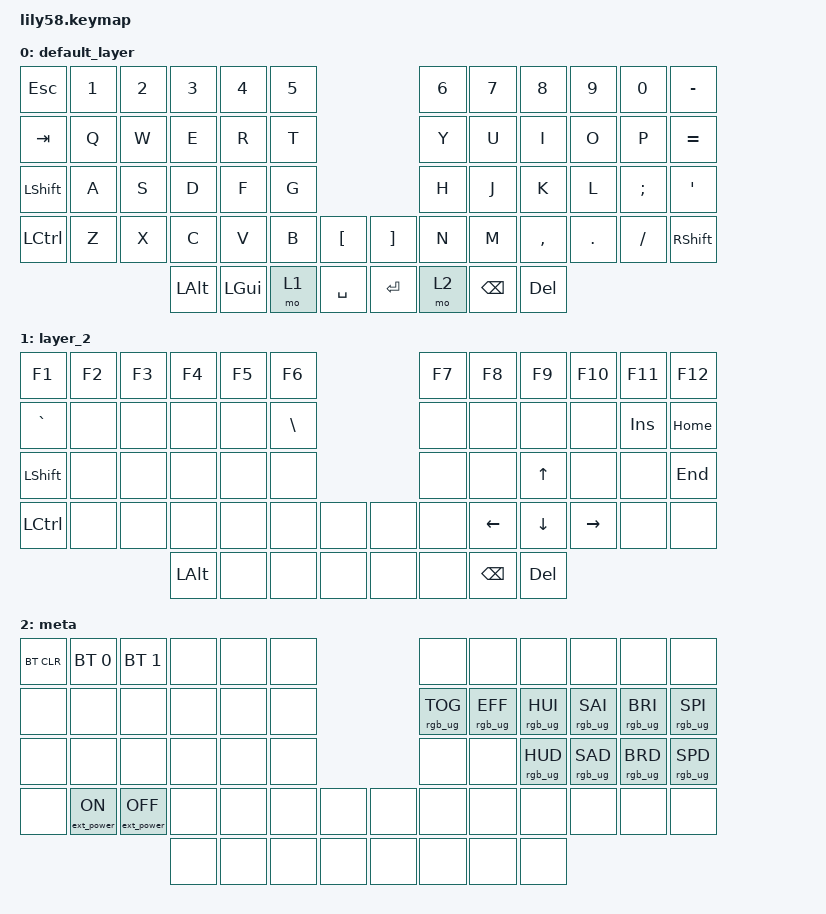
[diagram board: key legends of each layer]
/*
 * Copyright (c) 2020 The ZMK Contributors
 *
 * SPDX-License-Identifier: MIT
 */

#include <behaviors.dtsi>
#include <dt-bindings/zmk/bt.h>
#include <dt-bindings/zmk/ext_power.h>
#include <dt-bindings/zmk/keys.h>
#include <dt-bindings/zmk/rgb.h>

/ {
    combos {
        compatible = "zmk,combos";

        to_layer_meta {
            bindings = <&tog 2>;
            key-positions = <36 42 43 50>;
        };
    };

    behaviors {
        ss_hs_modmorph: ss_hs_modmorph {
            compatible = "zmk,behavior-mod-morph";
            label = "SS_HS_MODMORPH";
            bindings = <&kp M>, <&kp RIGHT_BRACKET>;

            #binding-cells = <0>;
            mods = <(MOD_LSFT|MOD_RSFT)>;
        };

        kh_hs_tapdance: kh_hs_tapdance {
            compatible = "zmk,behavior-tap-dance";
            label = "KH_HS_TAPDANCE";
            #binding-cells = <0>;
            tapping-term-ms = <200>;
            bindings = <&kp LEFT_BRACKET>, <&kp RIGHT_BRACKET>;
        };

        hrm: hrm {
            compatible = "zmk,behavior-hold-tap";
            #binding-cells = <2>;
            flavor = "tap-preferred";
            tapping-term-ms = <200>;
            quick-tap-ms = <200>;
            require-prior-idle-ms = <125>;
            bindings = <&kp>, <&kp>;
        };
    };

    keymap {
        compatible = "zmk,keymap";

        default_layer {
            // ------------------------------------------------------------------------------------------------------------
            // |  ESC  |  1  |  2  |  3   |  4   |  5   |                   |  6   |  7    |  8    |  9   |   0   |   `   |
            // |  TAB  |  Q  |  W  |  E   |  R   |  T   |                   |  Y   |  U    |  I    |  O   |   P   |   -   |
            // |  CTRL |  A  |  S  |  D   |  F   |  G   |                   |  H   |  J    |  K    |  L   |   ;   |   '   |
            // | SHIFT |  Z  |  X  |  C   |  V   |  B   |   "["  |  |  "]"  |  N   |  M    |  ,    |  .   |   /   | SHIFT |
            //                     | ALT  | GUI  | LOWER|  SPACE |  | ENTER | RAISE| BSPC  | GUI   |

            bindings = <
&kp ESC           &kp N1  &kp N2  &kp N3    &kp N4    &kp N5                         &kp N6  &kp N7    &kp N8      &kp N9   &kp N0    &kp MINUS
&kp TAB           &kp Q   &kp W   &kp E     &kp R     &kp T                          &kp Y   &kp U     &kp I       &kp O    &kp P     &kp EQUAL
&kp LEFT_SHIFT    &kp A   &kp S   &kp D     &kp F     &kp G                          &kp H   &kp J     &kp K       &kp L    &kp SEMI  &kp SQT
&kp LEFT_CONTROL  &kp Z   &kp X   &kp C     &kp V     &kp B   &kp LBKT     &kp RBKT  &kp N   &kp M     &kp COMMA   &kp DOT  &kp FSLH  &kp RSHFT
                                  &kp LALT  &kp LGUI  &mo 1   &kp SPACE    &kp RET   &mo 2   &kp BSPC  &kp DELETE
            >;
        };

        layer_2 {
            bindings = <
&kp F1          &kp F2  &kp F3  &kp F4    &kp F5  &kp F6                         &kp F7  &kp F8    &kp F9    &kp F10    &kp F11     &kp F12
&kp GRAVE       &none   &none   &none     &none   &kp BACKSLASH                  &none   &none     &none     &none      &kp INSERT  &kp HOME
&kp LEFT_SHIFT  &none   &none   &none     &none   &none                          &none   &none     &kp UP    &none      &none       &kp END
&kp LCTRL       &none   &none   &none     &none   &none          &none    &none  &none   &kp LEFT  &kp DOWN  &kp RIGHT  &none       &none
                                &kp LALT  &none   &none          &none    &none  &none   &kp BSPC  &kp DEL
            >;
        };

        meta {
            bindings = <
&bt BT_CLR  &bt BT_SEL 0      &bt BT_SEL 1       &none  &none  &none                  &none            &none            &none            &none            &none            &none
&none       &none             &none              &none  &none  &none                  &rgb_ug RGB_TOG  &rgb_ug RGB_EFF  &rgb_ug RGB_HUI  &rgb_ug RGB_SAI  &rgb_ug RGB_BRI  &rgb_ug RGB_SPI
&none       &none             &none              &none  &none  &none                  &none            &none            &rgb_ug RGB_HUD  &rgb_ug RGB_SAD  &rgb_ug RGB_BRD  &rgb_ug RGB_SPD
&none       &ext_power EP_ON  &ext_power EP_OFF  &none  &none  &none  &none    &none  &none            &none            &none            &none            &none            &none
                                                 &none  &none  &none  &none    &none  &none            &none            &none
            >;
        };
    };
};
